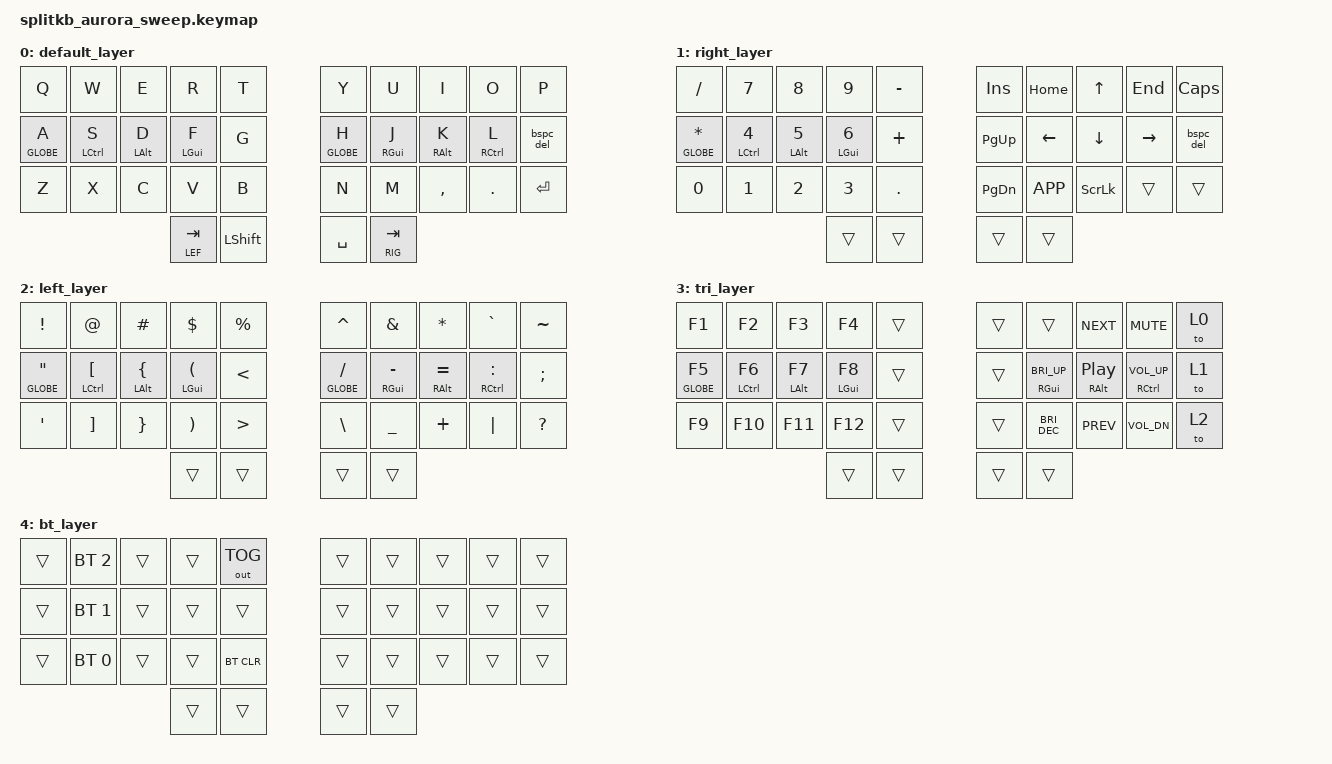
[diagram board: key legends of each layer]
// Copyright (c) 2022 The ZMK Contributors
// SPDX-License-Identifier: MIT

#include <behaviors.dtsi>
#include <dt-bindings/zmk/bt.h>
#include <dt-bindings/zmk/keys.h>
#include <dt-bindings/zmk/outputs.h>

// Home row mods macro
// #define HRML(k2,k3,k4) &ht LALT k2  &ht LCTRL k3  &ht LGUI k4
// #define HRMR(k1,k2,k3) &ht RGUI k1  &ht RCTRL k2  &ht RALT k3
// #define WHRML(k2,k3,k4) &ht LALT k2  &ht LGUI k3  &ht LCTRL k4
// #define WHRMR(k1,k2,k3) &ht RCTRL k1  &ht RGUI k2  &ht RALT k3

#define MAC 0
#define RIG 1
#define LEF 2
#define TRI 3

/ {
    behaviors {
        ht: hold_tap {
            label = "hold_tap";
            compatible = "zmk,behavior-hold-tap";
            #binding-cells = <2>;
            flavor = "tap-preferred";
            tapping-term-ms = <220>;
            quick-tap-ms = <150>;
            global-quick-tap;
            bindings = <&kp>, <&kp>;
        };

        bspc_del: backspace_delete {
            compatible = "zmk,behavior-mod-morph";
            #binding-cells = <0>;
            bindings = <&kp BACKSPACE>, <&kp DELETE>;

            mods = <(MOD_LSFT|MOD_RSFT)>;
            keep-mods = <(MOD_RSFT)>;
        };
    };

    combos {
        compatible = "zmk,combos";

        combo_esc {
            bindings = <&escape_layer0>;
            key-positions = <0 1>;
            timeout-ms = <50>;
        };

        toggle_left {
            bindings = <&tog 2>;
            key-positions = <30 20>;
            timeout-ms = <50>;
            layers = <0>;
        };

        toggle_right {
            bindings = <&tog 1>;
            key-positions = <33 29>;
            timeout-ms = <50>;
            layers = <0>;
        };

        combo_activate_bt_layer {
            bindings = <&to 4>;
            key-positions = <20 0 10>;
            require-prior-idle-ms = <100>;
            layers = <0>;
        };
    };

    conditional_layers {
        compatible = "zmk,conditional-layers";

        tri_layer {
            if-layers = <RIG LEF>;
            then-layer = <TRI>;
        };
    };

    macros {
        escape_layer0: escape_layer0 {
            compatible = "zmk,behavior-macro";
            #binding-cells = <0>;
            bindings = <&kp ESC &to 0>;
            label = "ESCAPE_LAYER0";
        };
    };

    keymap {
        compatible = "zmk,keymap";

        default_layer {
            bindings = <
&kp Q        &kp W       &kp E        &kp R       &kp T          &kp Y        &kp U       &kp I        &kp O       &kp P
&ht GLOBE A  &ht LCTRL S  &ht LALT D  &ht LGUI F  &kp G    &ht GLOBE H  &ht RGUI J  &ht RALT K   &ht RCTRL L  &bspc_del
&kp Z        &kp X       &kp C        &kp V       &kp B          &kp N        &kp M       &kp COMMA    &kp DOT     &kp ENTER
&lt LEF TAB  &kp LSHIFT                                                                                &kp SPACE   &lt RIG TAB
            >;
        };

        right_layer {
            bindings = <
&kp SLASH     &kp N7       &kp N8        &kp N9       &kp MINUS         &kp INSERT     &kp HOME        &kp UP_ARROW    &kp END          &kp CAPSLOCK
&ht GLOBE ASTERISK  &ht LCTRL N4  &ht LALT N5  &ht LGUI N6  &kp PLUS    &kp PAGE_UP    &kp LEFT_ARROW  &kp DOWN_ARROW  &kp RIGHT_ARROW  &bspc_del
&kp N0        &kp N1       &kp N2        &kp N3       &kp PERIOD        &kp PAGE_DOWN  &kp K_APP       &kp SCROLLLOCK  &trans           &trans
&trans        &trans                                                                                                   &trans           &trans
            >;
        };

        left_layer {
            bindings = <
&kp EXCL  &kp AT         &kp HASH        &kp DLLR       &kp PRCNT              &kp CARET       &kp AMPS        &kp ASTRK        &kp GRAVE       &kp TILDE
&ht GLOBE DQT   &ht LCTRL LBKT  &ht LALT LBRC  &ht LGUI LPAR  &kp LESS_THAN    &ht GLOBE FSLH  &ht RGUI MINUS  &ht RALT EQUAL  &ht RCTRL COLON  &kp SEMI
&kp SQT   &kp RBKT       &kp RBRC        &kp RPAR       &kp GT                 &kp BSLH        &kp UNDER       &kp PLUS         &kp PIPE        &kp QMARK
&trans    &trans                                                                                                                &trans          &trans
            >;
        };

        tri_layer {
            bindings = <
&kp F1  &kp F2       &kp F3        &kp F4       &trans    &trans  &trans             &kp C_NEXT      &kp C_MUTE         &to 0
&ht GLOBE F5  &ht LCTRL F6  &ht LALT F7  &ht LGUI F8  &trans    &trans  &ht RGUI C_BRI_UP  &ht RALT C_PP   &ht RCTRL C_VOL_UP  &to 1
&kp F9  &kp F10      &kp F11       &kp F12      &trans    &trans  &kp C_BRI_DEC      &kp C_PREV      &kp C_VOL_DN       &to 2
&trans  &trans                                                                                       &trans             &trans
            >;
        };

        bt_layer {
            bindings = <
&trans  &bt BT_SEL 2  &trans  &trans  &out OUT_TOG    &trans &trans   &trans  &trans  &trans
&trans  &bt BT_SEL 1  &trans  &trans  &trans          &trans &trans   &trans  &trans  &trans
&trans  &bt BT_SEL 0  &trans  &trans  &bt BT_CLR      &trans &trans   &trans  &trans  &trans
&trans  &trans                                                                      &trans  &trans
            >;
        };
    };
};
